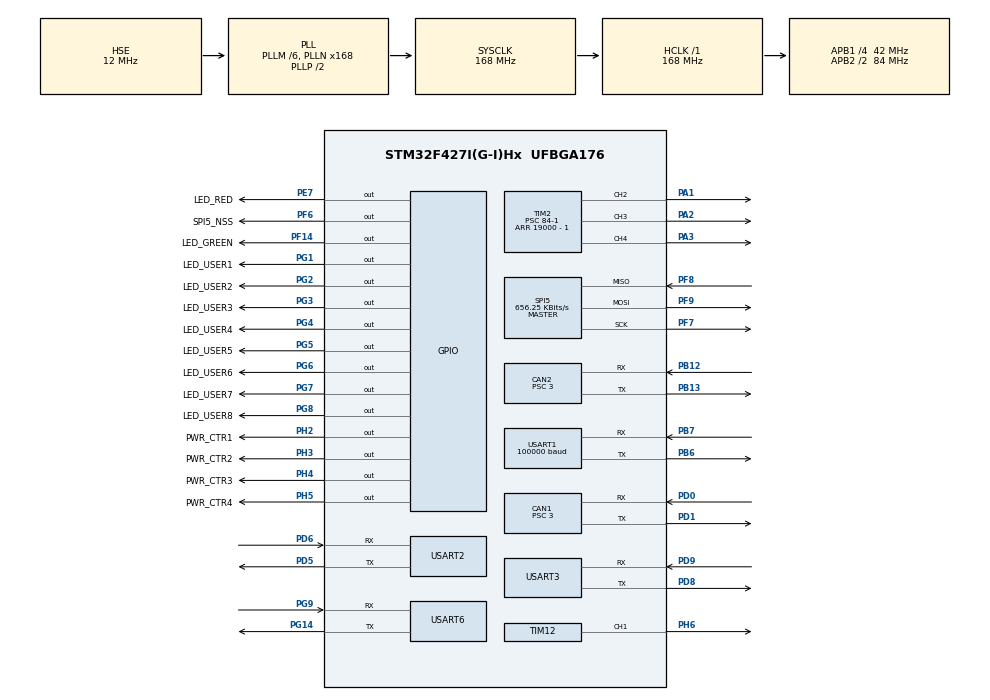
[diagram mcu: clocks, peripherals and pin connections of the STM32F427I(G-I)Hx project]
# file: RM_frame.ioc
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CAN1.BS1=CAN_BS1_9TQ
CAN1.BS2=CAN_BS2_4TQ
CAN1.CalculateTimeBit=1000
CAN1.CalculateTimeQuantum=71.42857142857143
CAN1.Prescaler=3
CAN2.BS1=CAN_BS1_9TQ
CAN2.BS2=CAN_BS2_4TQ
CAN2.CalculateTimeBit=1000
CAN2.CalculateTimeQuantum=71.42857142857143
CAN2.Prescaler=3
Dma.Request0=USART1_RX
Dma.Request1=USART3_RX
Dma.Request2=USART2_RX
Dma.Request3=USART6_RX
Dma.Request4=USART6_TX
Dma.USART1_RX.0.Direction=DMA_PERIPH_TO_MEMORY
Dma.USART1_RX.0.FIFOMode=DMA_FIFOMODE_DISABLE
Dma.USART1_RX.0.Instance=DMA2_Stream2
Dma.USART1_RX.0.MemDataAlignment=DMA_MDATAALIGN_BYTE
Dma.USART1_RX.0.MemInc=DMA_MINC_ENABLE
Dma.USART1_RX.0.Mode=DMA_NORMAL
Dma.USART1_RX.0.PeriphDataAlignment=DMA_PDATAALIGN_BYTE
Dma.USART1_RX.0.PeriphInc=DMA_PINC_DISABLE
Dma.USART1_RX.0.Priority=DMA_PRIORITY_LOW
Dma.USART2_RX.2.Direction=DMA_PERIPH_TO_MEMORY
Dma.USART2_RX.2.FIFOMode=DMA_FIFOMODE_DISABLE
Dma.USART2_RX.2.Instance=DMA1_Stream5
Dma.USART2_RX.2.MemDataAlignment=DMA_MDATAALIGN_BYTE
Dma.USART2_RX.2.MemInc=DMA_MINC_ENABLE
Dma.USART2_RX.2.Mode=DMA_NORMAL
Dma.USART2_RX.2.PeriphDataAlignment=DMA_PDATAALIGN_BYTE
Dma.USART2_RX.2.PeriphInc=DMA_PINC_DISABLE
Dma.USART2_RX.2.Priority=DMA_PRIORITY_LOW
Dma.USART3_RX.1.Direction=DMA_PERIPH_TO_MEMORY
Dma.USART3_RX.1.FIFOMode=DMA_FIFOMODE_DISABLE
Dma.USART3_RX.1.Instance=DMA1_Stream1
Dma.USART3_RX.1.MemDataAlignment=DMA_MDATAALIGN_BYTE
Dma.USART3_RX.1.MemInc=DMA_MINC_ENABLE
Dma.USART3_RX.1.Mode=DMA_NORMAL
Dma.USART3_RX.1.PeriphDataAlignment=DMA_PDATAALIGN_BYTE
Dma.USART3_RX.1.PeriphInc=DMA_PINC_DISABLE
Dma.USART3_RX.1.Priority=DMA_PRIORITY_LOW
Dma.USART6_RX.3.Direction=DMA_PERIPH_TO_MEMORY
Dma.USART6_RX.3.FIFOMode=DMA_FIFOMODE_DISABLE
Dma.USART6_RX.3.Instance=DMA2_Stream1
Dma.USART6_RX.3.MemDataAlignment=DMA_MDATAALIGN_BYTE
Dma.USART6_RX.3.MemInc=DMA_MINC_ENABLE
Dma.USART6_RX.3.Mode=DMA_NORMAL
Dma.USART6_RX.3.PeriphDataAlignment=DMA_PDATAALIGN_BYTE
Dma.USART6_RX.3.PeriphInc=DMA_PINC_DISABLE
Dma.USART6_RX.3.Priority=DMA_PRIORITY_LOW
Dma.USART6_TX.4.Direction=DMA_MEMORY_TO_PERIPH
Dma.USART6_TX.4.FIFOMode=DMA_FIFOMODE_DISABLE
Dma.USART6_TX.4.Instance=DMA2_Stream6
Dma.USART6_TX.4.MemDataAlignment=DMA_MDATAALIGN_BYTE
Dma.USART6_TX.4.MemInc=DMA_MINC_ENABLE
Dma.USART6_TX.4.Mode=DMA_NORMAL
Dma.USART6_TX.4.PeriphDataAlignment=DMA_PDATAALIGN_BYTE
Dma.USART6_TX.4.PeriphInc=DMA_PINC_DISABLE
Dma.USART6_TX.4.Priority=DMA_PRIORITY_LOW
IWDG.Prescaler=IWDG_PRESCALER_32
IWDG.Reload=300
Mcu.Family=STM32F4
Mcu.Name=STM32F427I(G-I)Hx
Mcu.Package=UFBGA176
NVIC.CAN1_RX0_IRQn=true\:0\:0\:true\:false\:true\:true\:true
NVIC.CAN1_TX_IRQn=true\:0\:0\:true\:false\:true\:true\:true
NVIC.CAN2_RX0_IRQn=true\:1\:0\:true\:false\:true\:true\:true
NVIC.CAN2_TX_IRQn=true\:2\:0\:true\:false\:true\:true\:true
NVIC.DMA1_Stream1_IRQn=true\:0\:0\:true\:false\:true\:false\:true
NVIC.DMA1_Stream5_IRQn=true\:0\:0\:false\:false\:true\:false\:true
NVIC.DMA2_Stream1_IRQn=true\:0\:0\:false\:false\:true\:false\:true
NVIC.DMA2_Stream2_IRQn=true\:0\:0\:false\:false\:true\:false\:true
NVIC.DMA2_Stream6_IRQn=true\:0\:0\:false\:false\:true\:false\:true
NVIC.PriorityGroup=NVIC_PRIORITYGROUP_4
NVIC.TIM1_UP_TIM10_IRQn=true\:4\:0\:true\:false\:true\:true\:true
NVIC.TIM6_DAC_IRQn=true\:3\:0\:true\:false\:true\:true\:true
NVIC.TIM7_IRQn=true\:0\:0\:true\:false\:true\:true\:true
NVIC.USART1_IRQn=true\:0\:0\:true\:false\:true\:true\:true
NVIC.USART2_IRQn=true\:1\:0\:true\:false\:true\:true\:true
NVIC.USART3_IRQn=true\:1\:0\:true\:false\:true\:true\:true
NVIC.USART6_IRQn=true\:1\:0\:true\:false\:true\:true\:true
PA1.Signal=S_TIM2_CH2
PA13.Mode=Serial_Wire
PA13.Signal=SYS_JTMS-SWDIO
PA14.Mode=Serial_Wire
PA14.Signal=SYS_JTCK-SWCLK
PA2.Signal=S_TIM2_CH3
PA3.Signal=S_TIM2_CH4
PB12.Mode=Slave
PB12.Signal=CAN2_RX
PB13.Mode=Slave
PB13.Signal=CAN2_TX
PB6.Mode=Asynchronous
PB6.Signal=USART1_TX
PB7.Mode=Asynchronous
PB7.Signal=USART1_RX
PD0.Mode=Master
PD0.Signal=CAN1_RX
PD1.Mode=Master
PD1.Signal=CAN1_TX
PD5.Mode=Asynchronous
PD5.Signal=USART2_TX
PD6.Mode=Asynchronous
PD6.Signal=USART2_RX
PD8.Mode=Asynchronous
PD8.Signal=USART3_TX
PD9.Mode=Asynchronous
PD9.Signal=USART3_RX
PE7.GPIO_Label=LED_RED
PE7.GPIO_ModeDefaultOutputPP=GPIO_MODE_OUTPUT_OD
PE7.Signal=GPIO_Output
PF14.GPIO_Label=LED_GREEN
PF14.GPIO_ModeDefaultOutputPP=GPIO_MODE_OUTPUT_OD
PF14.Signal=GPIO_Output
PF6.GPIO_Label=SPI5_NSS
PF6.Signal=GPIO_Output
PF7.Mode=Full_Duplex_Master
PF7.Signal=SPI5_SCK
PF8.Mode=Full_Duplex_Master
PF8.Signal=SPI5_MISO
PF9.Mode=Full_Duplex_Master
PF9.Signal=SPI5_MOSI
PG1.GPIO_Label=LED_USER1
PG1.GPIO_ModeDefaultOutputPP=GPIO_MODE_OUTPUT_OD
PG1.PinState=GPIO_PIN_SET
PG1.Signal=GPIO_Output
PG14.Mode=Asynchronous
PG14.Signal=USART6_TX
PG2.GPIO_Label=LED_USER2
PG2.GPIO_ModeDefaultOutputPP=GPIO_MODE_OUTPUT_OD
PG2.PinState=GPIO_PIN_SET
PG2.Signal=GPIO_Output
PG3.GPIO_Label=LED_USER3
PG3.GPIO_ModeDefaultOutputPP=GPIO_MODE_OUTPUT_OD
PG3.PinState=GPIO_PIN_SET
PG3.Signal=GPIO_Output
PG4.GPIO_Label=LED_USER4
PG4.GPIO_ModeDefaultOutputPP=GPIO_MODE_OUTPUT_OD
PG4.PinState=GPIO_PIN_SET
PG4.Signal=GPIO_Output
PG5.GPIO_Label=LED_USER5
PG5.GPIO_ModeDefaultOutputPP=GPIO_MODE_OUTPUT_OD
PG5.PinState=GPIO_PIN_SET
PG5.Signal=GPIO_Output
PG6.GPIO_Label=LED_USER6
PG6.GPIO_ModeDefaultOutputPP=GPIO_MODE_OUTPUT_OD
PG6.PinState=GPIO_PIN_SET
PG6.Signal=GPIO_Output
PG7.GPIO_Label=LED_USER7
PG7.GPIO_ModeDefaultOutputPP=GPIO_MODE_OUTPUT_OD
PG7.PinState=GPIO_PIN_SET
PG7.Signal=GPIO_Output
PG8.GPIO_Label=LED_USER8
PG8.GPIO_ModeDefaultOutputPP=GPIO_MODE_OUTPUT_OD
PG8.PinState=GPIO_PIN_SET
PG8.Signal=GPIO_Output
PG9.Mode=Asynchronous
PG9.Signal=USART6_RX
PH0/OSC_IN.Mode=HSE-External-Oscillator
PH0/OSC_IN.Signal=RCC_OSC_IN
PH1/OSC_OUT.Mode=HSE-External-Oscillator
PH1/OSC_OUT.Signal=RCC_OSC_OUT
PH2.GPIO_Label=PWR_CTR1
PH2.PinState=GPIO_PIN_SET
PH2.Signal=GPIO_Output
PH3.GPIO_Label=PWR_CTR2
PH3.PinState=GPIO_PIN_SET
PH3.Signal=GPIO_Output
PH4.GPIO_Label=PWR_CTR3
PH4.PinState=GPIO_PIN_SET
PH4.Signal=GPIO_Output
PH5.GPIO_Label=PWR_CTR4
PH5.PinState=GPIO_PIN_SET
PH5.Signal=GPIO_Output
PH6.Signal=S_TIM12_CH1
ProjectManager.HeapSize=0x200
ProjectManager.StackSize=0x400
ProjectManager.TargetToolchain=MDK-ARM V5.27
RCC.48MHZClocksFreq_Value=48000000
RCC.AHBFreq_Value=168000000
RCC.APB1CLKDivider=RCC_HCLK_DIV4
RCC.APB1Freq_Value=42000000
RCC.APB1TimFreq_Value=84000000
RCC.APB2CLKDivider=RCC_HCLK_DIV2
RCC.APB2Freq_Value=84000000
RCC.APB2TimFreq_Value=168000000
RCC.CortexFreq_Value=168000000
RCC.HCLKFreq_Value=168000000
RCC.HSE_VALUE=12000000
RCC.HSI_VALUE=16000000
RCC.LSE_VALUE=32768
RCC.PLLM=6
RCC.PLLN=168
RCC.PLLQ=7
RCC.PLLSourceVirtual=RCC_PLLSOURCE_HSE
RCC.SYSCLKFreq_VALUE=168000000
RCC.SYSCLKSource=RCC_SYSCLKSOURCE_PLLCLK
RCC.VCOOutputFreq_Value=336000000
SH.S_TIM12_CH1.0=TIM12_CH1,PWM Generation1 CH1
SH.S_TIM2_CH2.0=TIM2_CH2,PWM Generation2 CH2
SH.S_TIM2_CH3.0=TIM2_CH3,PWM Generation3 CH3
SH.S_TIM2_CH4.0=TIM2_CH4,PWM Generation4 CH4
SPI5.BaudRatePrescaler=SPI_BAUDRATEPRESCALER_128
SPI5.CalculateBaudRate=656.25 KBits/s
SPI5.Direction=SPI_DIRECTION_2LINES
SPI5.Mode=SPI_MODE_MASTER
SPI5.VirtualType=VM_MASTER
TIM10.Period=10000
TIM10.Prescaler=168-1
TIM12.Channel-PWM\ Generation1\ CH1=TIM_CHANNEL_1
TIM12.Period=2500-1
TIM12.Prescaler=84-1
TIM12.Pulse-PWM\ Generation1\ CH1=1000
TIM2.Channel-PWM\ Generation2\ CH2=TIM_CHANNEL_2
TIM2.Channel-PWM\ Generation3\ CH3=TIM_CHANNEL_3
TIM2.Channel-PWM\ Generation4\ CH4=TIM_CHANNEL_4
TIM2.Period=19000 - 1
TIM2.Prescaler=84-1
TIM6.Period=2000
TIM6.Prescaler=84-1
TIM7.Period=1000
TIM7.Prescaler=84-1
USART1.BaudRate=100000
USART1.Mode=MODE_RX
USART1.Parity=PARITY_EVEN
USART1.VirtualMode=VM_ASYNC
USART1.WordLength=WORDLENGTH_9B
USART2.VirtualMode=VM_ASYNC
USART3.VirtualMode=VM_ASYNC
USART6.VirtualMode=VM_ASYNC
VP_IWDG_VS_IWDG.Mode=IWDG_Activate
VP_TIM10_VS_ClockSourceINT.Mode=Enable_Timer
VP_TIM12_VS_ClockSourceINT.Mode=Internal
VP_TIM2_VS_ClockSourceINT.Mode=Internal
VP_TIM6_VS_ClockSourceINT.Mode=Enable_Timer
VP_TIM7_VS_ClockSourceINT.Mode=Enable_Timer
board=RM_frame

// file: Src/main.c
/**
  ******************************************************************************
  * File Name          : main.c
  * Description        : Main program body
  ******************************************************************************
  ** This notice applies to any and all portions of this file
  * that are not between comment pairs USER CODE BEGIN and
  * USER CODE END. Other portions of this file, whether
  * inserted by the user or by software development tools
  * are owned by their respective copyright owners.
  *
  * COPYRIGHT(c) 2019 STMicroelectronics
  *
  * Redistribution and use in source and binary forms, with or without modification,
  * are permitted provided that the following conditions are met:
  *   1. Redistributions of source code must retain the above copyright notice,
  *      this list of conditions and the following disclaimer.
  *   2. Redistributions in binary form must reproduce the above copyright notice,
  *      this list of conditions and the following disclaimer in the documentation
  *      and/or other materials provided with the distribution.
  *   3. Neither the name of STMicroelectronics nor the names of its contributors
  *      may be used to endorse or promote products derived from this software
  *      without specific prior written permission.
  *
  * THIS SOFTWARE IS PROVIDED BY THE COPYRIGHT HOLDERS AND CONTRIBUTORS "AS IS"
  * AND ANY EXPRESS OR IMPLIED WARRANTIES, INCLUDING, BUT NOT LIMITED TO, THE
  * IMPLIED WARRANTIES OF MERCHANTABILITY AND FITNESS FOR A PARTICULAR PURPOSE ARE
  * DISCLAIMED. IN NO EVENT SHALL THE COPYRIGHT HOLDER OR CONTRIBUTORS BE LIABLE
  * FOR ANY DIRECT, INDIRECT, INCIDENTAL, SPECIAL, EXEMPLARY, OR CONSEQUENTIAL
  * DAMAGES (INCLUDING, BUT NOT LIMITED TO, PROCUREMENT OF SUBSTITUTE GOODS OR
  * SERVICES; LOSS OF USE, DATA, OR PROFITS; OR BUSINESS INTERRUPTION) HOWEVER
  * CAUSED AND ON ANY THEORY OF LIABILITY, WHETHER IN CONTRACT, STRICT LIABILITY,
  * OR TORT (INCLUDING NEGLIGENCE OR OTHERWISE) ARISING IN ANY WAY OUT OF THE USE
  * OF THIS SOFTWARE, EVEN IF ADVISED OF THE POSSIBILITY OF SUCH DAMAGE.
  *
  ******************************************************************************
  */

#include "main.h"
#include "stm32f4xx_hal.h"
#include "can.h"
#include "dma.h"
#include "iwdg.h"
#include "spi.h"
#include "tim.h"
#include "usart.h"
#include "gpio.h"

/* USER CODE BEGIN Includes */
#include "includes.h"
/* USER CODE END Includes */

/* USER CODE BEGIN PV */
uint32_t ADC_Value[160];
/* Private variables ---------------------------------------------------------*/

/* USER CODE END PV */

void SystemClock_Config(void);

/* USER CODE BEGIN PFP */
/* Private function prototypes -----------------------------------------------*/

/* USER CODE END PFP */

int main(void)
{

  /* MCU Configuration----------------------------------------------------------*/

  /* Reset of all peripherals, Initializes the Flash interface and the Systick. */
  HAL_Init();

  /* Configure the system clock */
  SystemClock_Config();

  /* USER CODE BEGIN SysInit */
	HAL_NVIC_DisableIRQ(USART2_IRQn);
	HAL_NVIC_DisableIRQ(USART3_IRQn);
	HAL_NVIC_DisableIRQ(USART6_IRQn);
	HAL_NVIC_DisableIRQ(DMA1_Stream1_IRQn);
	HAL_NVIC_DisableIRQ(DMA1_Stream5_IRQn);
	HAL_NVIC_DisableIRQ(DMA2_Stream1_IRQn);

	HAL_NVIC_DisableIRQ(CAN1_RX0_IRQn);
	HAL_NVIC_DisableIRQ(CAN2_RX0_IRQn);
	HAL_NVIC_DisableIRQ(USART1_IRQn);
	HAL_NVIC_DisableIRQ(DMA2_Stream2_IRQn);
	HAL_NVIC_DisableIRQ(TIM7_IRQn);
	HAL_NVIC_DisableIRQ(TIM6_DAC_IRQn);
	#ifdef DEBUG_MODE
		HAL_NVIC_DisableIRQ(TIM1_UP_TIM10_IRQn);
	#endif
  /* USER CODE END SysInit */

  /* Initialize all configured peripherals */
  MX_GPIO_Init();
  MX_DMA_Init();
  MX_CAN1_Init();
  MX_CAN2_Init();
  MX_SPI5_Init();
  MX_USART1_UART_Init();
  MX_TIM6_Init();
  MX_TIM12_Init();
  MX_USART2_UART_Init();
  MX_USART3_UART_Init();
  MX_USART6_UART_Init();
  MX_TIM7_Init();
  MX_TIM10_Init();
  MX_TIM2_Init();
  MX_IWDG_Init();

  /* USER CODE BEGIN 2 */

	//点个灯吧
	HAL_GPIO_WritePin(LED_USER2_GPIO_Port,LED_USER2_Pin,GPIO_PIN_RESET);
	HAL_GPIO_WritePin(LED_USER4_GPIO_Port,LED_USER4_Pin,GPIO_PIN_RESET);
	HAL_GPIO_WritePin(LED_USER6_GPIO_Port,LED_USER6_Pin,GPIO_PIN_RESET);
	HAL_GPIO_WritePin(LED_USER8_GPIO_Port,LED_USER8_Pin,GPIO_PIN_RESET);
	HAL_TIM_PWM_Start(&htim2, TIM_CHANNEL_2);//打开PWM

	//各模块初始化
	InitRemoteControl();
	InitMPU6500();
	InitDjiCanID();
	for(int i=0;i<8;i++) {InitMotor(can1[i]);InitMotor(can2[i]);}
	InitPWM();
	InitCanReception();

	#ifdef DEBUG_MODE
	ctrlUartInit();
	//时间中断
	HAL_TIM_Base_Start_IT(&htim10);
	#endif
	HAL_TIM_Base_Start_IT(&htim6);
	HAL_TIM_Base_Start_IT(&htim7);
	HAL_TIM_PWM_Start(&htim2, TIM_CHANNEL_3);
	HAL_TIM_PWM_Start(&htim2, TIM_CHANNEL_4);

	//ADC
	//HAL_ADC_Start_DMA(&hadc1,(uint32_t*)&ADC_Value,160);

	//其他中断
	HAL_NVIC_EnableIRQ(CAN1_RX0_IRQn);
	HAL_NVIC_EnableIRQ(CAN2_RX0_IRQn);
	HAL_NVIC_EnableIRQ(USART1_IRQn);
	HAL_NVIC_EnableIRQ(DMA2_Stream2_IRQn);
	HAL_NVIC_EnableIRQ(TIM6_DAC_IRQn);
	HAL_NVIC_EnableIRQ(TIM7_IRQn);
	#ifdef DEBUG_MODE
		HAL_NVIC_EnableIRQ(TIM1_UP_TIM10_IRQn);
	#endif

  /* USER CODE END 2 */

  /* Infinite loop */
  while (1)
  {

  /* USER CODE BEGIN 3 */
		IMURefresh();
  }
  /* USER CODE END 3 */

}

/** System Clock Configuration
*/
void SystemClock_Config(void)
{

  RCC_OscInitTypeDef RCC_OscInitStruct;
  RCC_ClkInitTypeDef RCC_ClkInitStruct;

    /**Configure the main internal regulator output voltage
    */
  __HAL_RCC_PWR_CLK_ENABLE();

  __HAL_PWR_VOLTAGESCALING_CONFIG(PWR_REGULATOR_VOLTAGE_SCALE1);

    /**Initializes the CPU, AHB and APB busses clocks
    */
  RCC_OscInitStruct.OscillatorType = RCC_OSCILLATORTYPE_LSI|RCC_OSCILLATORTYPE_HSE;
  RCC_OscInitStruct.HSEState = RCC_HSE_ON;
  RCC_OscInitStruct.LSIState = RCC_LSI_ON;
  RCC_OscInitStruct.PLL.PLLState = RCC_PLL_ON;
  RCC_OscInitStruct.PLL.PLLSource = RCC_PLLSOURCE_HSE;
  RCC_OscInitStruct.PLL.PLLM = 6;
  RCC_OscInitStruct.PLL.PLLN = 168;
  RCC_OscInitStruct.PLL.PLLP = RCC_PLLP_DIV2;
  RCC_OscInitStruct.PLL.PLLQ = 7;
  if (HAL_RCC_OscConfig(&RCC_OscInitStruct) != HAL_OK)
  {
    _Error_Handler(__FILE__, __LINE__);
  }

    /**Initializes the CPU, AHB and APB busses clocks
    */
  RCC_ClkInitStruct.ClockType = RCC_CLOCKTYPE_HCLK|RCC_CLOCKTYPE_SYSCLK
                              |RCC_CLOCKTYPE_PCLK1|RCC_CLOCKTYPE_PCLK2;
  RCC_ClkInitStruct.SYSCLKSource = RCC_SYSCLKSOURCE_PLLCLK;
  RCC_ClkInitStruct.AHBCLKDivider = RCC_SYSCLK_DIV1;
  RCC_ClkInitStruct.APB1CLKDivider = RCC_HCLK_DIV4;
  RCC_ClkInitStruct.APB2CLKDivider = RCC_HCLK_DIV2;

  if (HAL_RCC_ClockConfig(&RCC_ClkInitStruct, FLASH_LATENCY_5) != HAL_OK)
  {
    _Error_Handler(__FILE__, __LINE__);
  }

    /**Configure the Systick interrupt time
    */
  HAL_SYSTICK_Config(HAL_RCC_GetHCLKFreq()/1000);

    /**Configure the Systick
    */
  HAL_SYSTICK_CLKSourceConfig(SYSTICK_CLKSOURCE_HCLK);

  /* SysTick_IRQn interrupt configuration */
  HAL_NVIC_SetPriority(SysTick_IRQn, 0, 0);
}

void _Error_Handler(char * file, int line)
{
  while(1)
  {
  }
}

/************************ (C) COPYRIGHT STMicroelectronics *****END OF FILE****/
